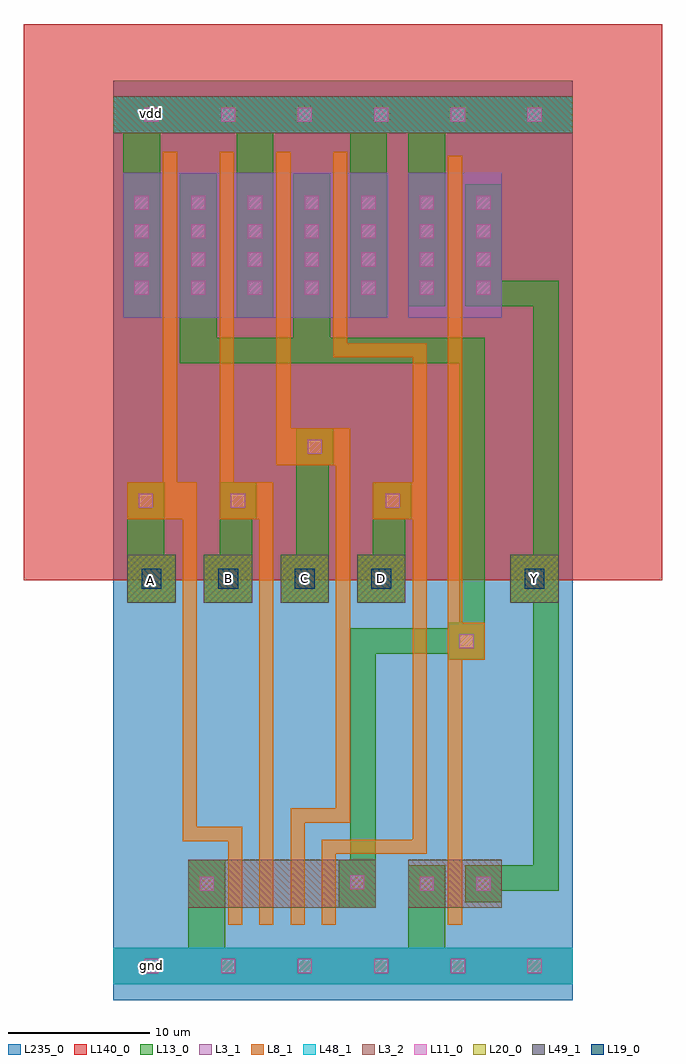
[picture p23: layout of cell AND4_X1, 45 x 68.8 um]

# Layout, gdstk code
import gdstk
lib = gdstk.Library(unit=1e-6, precision=1e-09)
def R(c, l, rs):  # rectangles x0, y0, x1, y1
    for r in rs: c.add(gdstk.rectangle(r[:2], r[2:], *l))
def A(c, l, x, y, w, h, nx, ny, dx, dy):  # array of equal rectangles
    R(c, l, [(x+i*dx, y+j*dy, x+i*dx+w, y+j*dy+h) for i in range(nx) for j in range(ny)])
def P(c, l, *ps):  # polygons
    for p in ps: c.add(gdstk.Polygon(p, *l))
L3_1 = (3, 1)
L3_2 = (3, 2)
L8_1 = (8, 1)
L11_0 = (11, 0)
L13_0 = (13, 0)
L19_0 = (19, 0)
L20_0 = (20, 0)
L48_1 = (48, 1)
L49_1 = (49, 1)
L140_0 = (140, 0)
L235_0 = (235, 0)

and4_x1 = lib.new_cell('AND4_X1')
R(and4_x1, L3_1, [(0,1.1,32.4,3.7), (0.7,48.1,7.3,58.3), (4.7,48.1,11.3,58.3), (11.3,48.1,19.4,58.3), (20.8,48.1,27.4,58.3)])
R(and4_x1, L3_2, [(5.3,6.5,18.5,9.9), (20.8,6.5,27.4,9.9), (0,61.1,32.4,63.7)])
P(and4_x1, L8_1, [(14.7,5.3),(14.7,11.3),(21.1,11.3),(21.1,33.9),(18.3,33.9),(18.3,36.5),(21.1,36.5),(21.1,45.3),(15.5,45.3),(15.5,59.8),(16.5,59.8),(16.5,46.3),(22.1,46.3),(22.1,10.3),(15.7,10.3),(15.7,5.3)],
  [(23.6,5.3),(23.6,59.5),(24.6,59.5),(24.6,26.6),(26.2,26.6),(26.2,24),(24.6,24),(24.6,5.3)],
  [(12.5,5.3),(12.5,13.5),(15.7,13.5),(15.7,37.7),(11.5,37.7),(11.5,59.8),(12.5,59.8),(12.5,40.3),(16.7,40.3),(16.7,12.5),(13.5,12.5),(13.5,5.3)],
  [(10.3,5.3),(10.3,13),(10.3,33.9),(7.5,33.9),(7.5,36.5),(7.5,59.8),(8.5,59.8),(8.5,36.5),(11.3,36.5),(11.3,12),(11.3,5.3)],
  [(8.1,5.3),(8.1,11.2),(4.9,11.2),(4.9,33.9),(1,33.9),(1,36.5),(3.5,36.5),(3.5,59.8),(4.5,59.8),(4.5,36.5),(5.9,36.5),(5.9,12.2),(9.1,12.2),(9.1,5.3)])
A(and4_x1, L11_0, 18.4, 1.9, 1, 1, 3, 2, 5.4, 60)
A(and4_x1, L11_0, 1.5, 49.7, 1, 1, 5, 4, 4, 2)
A(and4_x1, L11_0, 21.6, 49.7, 1, 1, 1, 4, 0, 2)
A(and4_x1, L11_0, 25.6, 49.7, 1, 1, 1, 4, 0, 2)
R(and4_x1, L11_0, [(2.2,1.9,3.2,2.9), (7.6,1.9,8.6,2.9), (7.6,1.9,8.6,2.9), (13,1.9,14,2.9), (13,1.9,14,2.9), (18.4,1.9,19.4,2.9), (6.1,7.7,7.1,8.7), (21.6,7.7,22.6,8.7), (25.6,7.7,26.6,8.7), (16.7,7.8,17.7,8.8), (24.4,24.8,25.4,25.8), (1.8,34.7,2.8,35.7), (8.3,34.7,9.3,35.7), (19.2,34.7,20.2,35.7), (13.7,38.5,14.7,39.5), (2.2,61.9,3.2,62.9), (2.2,61.9,3.2,62.9), (7.6,61.9,8.6,62.9), (7.6,61.9,8.6,62.9), (7.6,61.9,8.6,62.9), (7.6,61.9,8.6,62.9), (13,61.9,14,62.9), (13,61.9,14,62.9), (18.4,61.9,19.4,62.9)])
A(and4_x1, L13_0, 0.7, 48.1, 2.6, 13, 3, 1, 8, 0)
R(and4_x1, L13_0, [(5.3,3.7,7.9,9.9), (20.8,3.7,23.4,9.5), (15.9,6.5,18.5,9.9), (24.8,6.9,27.4,9.5), (20.8,48.9,23.4,61.1), (0,61.1,32.4,63.7)])
P(and4_x1, L13_0, [(1,28),(1,36.5),(3.6,36.5),(3.6,31.4),(4.4,31.4),(4.4,28)],
  [(0,1.1),(0,3.7),(0.7,3.7),(3.3,3.7),(32.4,3.7),(32.4,1.1)],
  [(6.4,28),(6.4,31.4),(7.5,31.4),(7.5,36.5),(10.1,36.5),(10.1,33.9),(9.8,33.9),(9.8,28)],
  [(17.2,28),(17.2,31.4),(18.3,31.4),(18.3,36.5),(21,36.5),(21,33.9),(20.6,33.9),(20.6,28)],
  [(11.8,28),(11.8,31.4),(12.9,31.4),(12.9,40.3),(15.5,40.3),(15.5,37.7),(15.2,37.7),(15.2,28)],
  [(27.4,7.7),(27.4,9.5),(29.6,9.5),(29.6,28),(28,28),(28,31.4),(29.6,31.4),(29.6,48.9),(24.8,48.9),(24.8,57.5),(27.4,57.5),(27.4,50.7),(31.4,50.7),(31.4,7.7)],
  [(16.7,9.9),(16.7,26.2),(23.6,26.2),(23.6,26.6),(24.4,26.6),(24.4,44.9),(4.7,44.9),(4.7,58.3),(7.3,58.3),(7.3,46.7),(12.7,46.7),(12.7,58.3),(15.3,58.3),(15.3,46.7),(26.2,46.7),(26.2,24),(23.6,24),(23.6,24.4),(18.5,24.4),(18.5,9.9)])
A(and4_x1, L19_0, 2, 29, 1.4, 1.4, 4, 1, 5.4, 0)
R(and4_x1, L19_0, [(29,29,30.4,30.4)])
A(and4_x1, L20_0, 1, 28, 3.4, 3.4, 4, 1, 5.4, 0)
R(and4_x1, L20_0, [(28,28,31.4,31.4)])
R(and4_x1, L48_1, [(0,1.1,32.4,3.7), (0,61.1,32.4,63.7)])
A(and4_x1, L49_1, 1, 28, 3.4, 3.4, 4, 1, 5.4, 0)
R(and4_x1, L49_1, [(28,28,31.4,31.4)])
R(and4_x1, L140_0, [(-6.3,29.6,38.7,68.8)])
R(and4_x1, L235_0, [(0,0,32.4,64.8)])
and4_x1.add(gdstk.Label('Y', (29.7,29.7), layer=49, texttype=0))
and4_x1.add(gdstk.Label('C', (13.5,29.7), layer=49, texttype=0))
and4_x1.add(gdstk.Label('D', (18.9,29.7), layer=49, texttype=0))
and4_x1.add(gdstk.Label('A', (2.6,29.6), layer=49, texttype=0))
and4_x1.add(gdstk.Label('B', (8.1,29.7), layer=49, texttype=0))
and4_x1.add(gdstk.Label('gnd', (2.7,2.4), layer=48, texttype=0))
and4_x1.add(gdstk.Label('vdd', (2.7,62.5), layer=48, texttype=0))

lib.write_gds('AND4_X1.gds')
